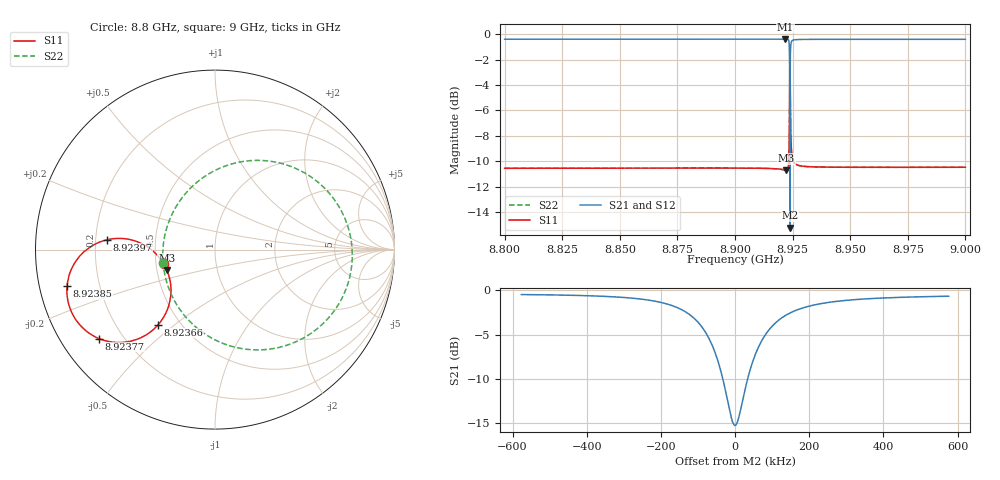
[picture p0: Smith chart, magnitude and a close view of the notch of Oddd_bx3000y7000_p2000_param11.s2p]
! Sonnet Data File
! From: emgraph Version : 16.52
! From Project: Resonator2
! Data is De-embedded
! Data File Written: 10/05/2017 10:46:05
!< HDATE 10/04/2017 20:26:48
!< MDATE 10/05/2017 00:36:07
!< PARAMS
!< gap = 96.0
!< Length = 400.0
!< Pwid1 = 2000.0
!< Pwid2 = 2000.0
!< END PARAMS
# GHZ S MA R 50.00000
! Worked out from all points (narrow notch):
!   1595 points, 8.8 GHz to 9 GHz, reference 50 ohm
!   highest |S21| = -0.39 dB at 8.92188 GHz (marker M1); lowest = -15.2 dB at 8.92382 GHz (marker M2)
!   notch at M2: 14.8 dB deep, 96.7 kHz wide at half that depth
!   lowest |S11| = -10.7 dB at 8.92232 GHz (marker M3), VSWR 1.82, Z = 28.2 - j6.99 ohm
!   |S11| at or under -10 dB: start of sweep to 8.92332 GHz; 8.92537 GHz to end of sweep
!   |S22| runs from -10.8 to -2.3 dB; largest |S21 - S12| = 0
!   S11 on the Smith chart (normalised r, x): 8.8 GHz: 0.55, -0.10; 8.92366 GHz: 0.38, -0.44; 8.92377 GHz: 0.11, -0.34; 8.92385 GHz: 0.08, -0.12; 8.92397 GHz: 0.25, +0.04; 9 GHz: 0.54, -0.08
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8.8  0.2967 -164.4  0.955 -74.8  0.955 -74.8  0.2967 -165.3
!< P1 F=8.8 Eeff=(5.36817953 -2.3731e-5) Z0=(35.9853883 8.0522e-5) R=0.0 C=0.0
!< P2 F=8.8 Eeff=(5.36817953 -2.3731e-5) Z0=(35.9853883 8.0522e-5) R=0.0 C=0.0
8.8334  0.297 -164.7  0.9549 -75.1  0.9549 -75.1  0.297 -165.6
8.8668  0.2973 -164.9  0.9548 -75.4  0.9548 -75.4  0.2973 -166.0
8.9  0.2973 -164.8  0.9548 -75.8  0.9548 -75.8  0.2972 -166.9
8.921885  0.2919 -159.0  0.9561 -78.6  0.9561 -78.6  0.2909 -178.1
8.922325  0.2915 -157.1  0.9559 -79.4  0.9559 -79.4  0.2898 178.3
8.922991  0.2957 -150.2  0.9532 -82.3  0.9532 -82.3  0.2902 165.5
8.923386  0.328 -138.4  0.9372 -88.0  0.9372 -88.0  0.31 140.7
8.923561  0.4054 -129.5  0.8941 -95.7  0.8941 -95.7  0.3669 112.4
8.923656  0.5235 -127.1  0.8073 -104.9  0.8073 -104.9  0.4617 84.8
8.923727  0.6882 -132.3  0.6237 -116.6  0.6237 -116.6  0.6008 53.6
8.923773  0.8147 -142.5  0.3807 -122.3  0.3807 -122.3  0.7118 25.7
8.923817  0.8716 -156.3  0.1733 -78.2  0.1733 -78.2  0.7663 -4.0
8.923847  0.8491 -166.1  0.2981 -37.7  0.2981 -37.7  0.7516 -24.5
8.923898  0.7452 -177.9  0.5595 -37.8  0.5595 -37.8  0.6688 -52.5
8.923967  0.6043 174.8  0.7503 -47.9  0.7503 -47.9  0.5534 -78.8
8.924058  0.4929 173.2  0.849 -56.2  0.849 -56.2  0.4616 -99.7
8.924203  0.4097 175.3  0.9033 -62.8  0.9033 -62.8  0.3931 -118.4
8.9248  0.3306 -176.1  0.9423 -70.5  0.9423 -70.5  0.3272 -144.6
8.9334  0.3006 -166.9  0.9537 -75.3  0.9537 -75.3  0.3006 -163.8
8.9668  0.2993 -166.2  0.9542 -76.0  0.9542 -76.0  0.2993 -165.9
9  0.2995 -166.3  0.9541 -76.4  0.9541 -76.4  0.2995 -166.4
